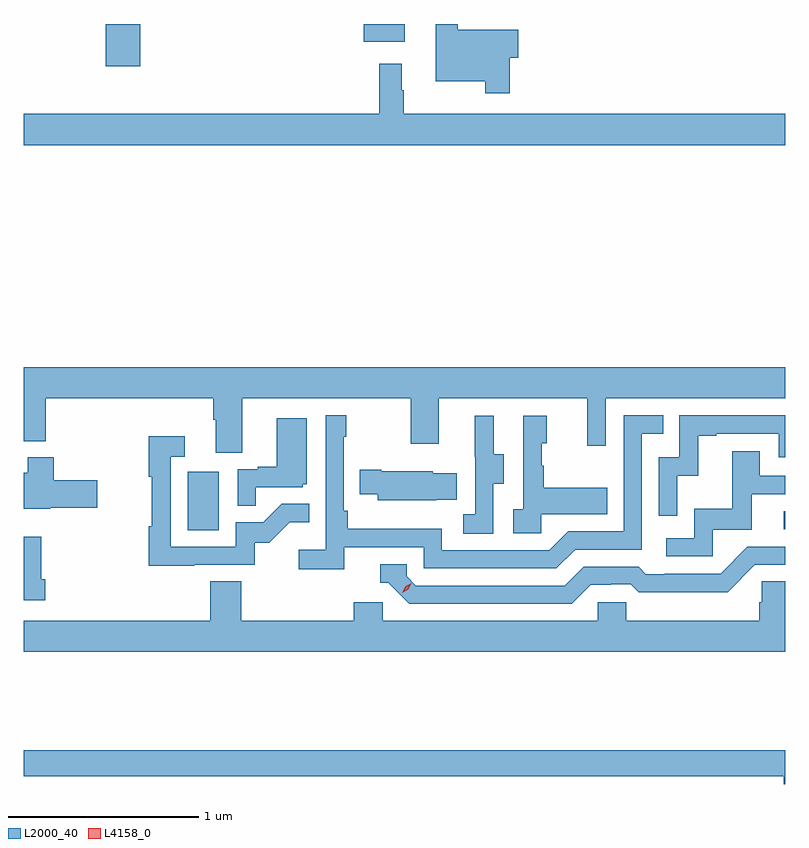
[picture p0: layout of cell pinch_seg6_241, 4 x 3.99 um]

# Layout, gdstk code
import gdstk
lib = gdstk.Library(unit=1e-6, precision=1e-09)
def R(c, l, rs):  # rectangles x0, y0, x1, y1
    for r in rs: c.add(gdstk.rectangle(r[:2], r[2:], *l))
def P(c, l, *ps):  # polygons
    for p in ps: c.add(gdstk.Polygon(p, *l))
L2000_40 = (2000, 40)
L4158_0 = (4158, 0)

pinch_seg6_241 = lib.new_cell('pinch_seg6_241')
R(pinch_seg6_241, L2000_40, [(1113.926,922.668,1114.09,922.975), (1117.059,922.674,1117.065,922.767), (1113.494,925.107,1113.677,925.328), (1114.85,925.235,1115.065,925.328)])
P(pinch_seg6_241, L2000_40, [(1115.618,925.15),(1115.662,925.15),(1115.662,925.297),(1115.345,925.297),(1115.345,925.328),(1115.228,925.328),(1115.228,925.028),(1115.49,925.028),(1115.49,924.963),(1115.618,924.963)],
  [(1117.065,924.856),(1115.062,924.856),(1115.062,924.98),(1115.05,924.98),(1115.05,925.12),(1114.933,925.12),(1114.933,924.856),(1113.065,924.856),(1113.065,924.692),(1117.065,924.692)],
  [(1114.213,923.36),(1115.098,923.36),(1115.098,923.121),(1115.245,923.121),(1115.245,923.36),(1116.026,923.36),(1116.026,923.112),(1116.123,923.112),(1116.123,923.36),(1117.065,923.36),(1117.065,923.524),(1113.065,923.524),(1113.065,923.135),(1113.179,923.135),(1113.179,923.36),(1114.061,923.36),(1114.061,923.248),(1114.073,923.248),(1114.073,923.074),(1114.213,923.074)],
  [(1114.748,922.578),(1115.166,922.578),(1115.166,922.467),(1115.863,922.467),(1115.962,922.566),(1116.312,922.566),(1116.312,923.175),(1116.425,923.175),(1116.425,923.271),(1116.216,923.271),(1116.216,922.662),(1115.925,922.662),(1115.826,922.563),(1115.262,922.563),(1115.262,922.675),(1114.766,922.675),(1114.766,922.771),(1114.746,922.771),(1114.746,923.159),(1114.759,923.159),(1114.759,923.272),(1114.65,923.272),(1114.65,922.564),(1114.509,922.564),(1114.509,922.462),(1114.748,922.462)],
  [(1116.498,922.955),(1116.608,922.955),(1116.608,923.163),(1116.703,923.163),(1116.703,923.175),(1117.032,923.175),(1117.032,923.052),(1117.065,923.052),(1117.065,923.271),(1116.51,923.271),(1116.51,923.052),(1116.402,923.052),(1116.402,922.743),(1116.498,922.743)],
  [(1115.784,922.751),(1116.131,922.751),(1116.131,922.891),(1115.797,922.891),(1115.797,923.006),(1115.787,923.006),(1115.787,923.124),(1115.812,923.124),(1115.812,923.269),(1115.688,923.269),(1115.688,922.778),(1115.637,922.778),(1115.637,922.653),(1115.784,922.653)],
  [(1115.532,922.912),(1115.587,922.912),(1115.587,923.067),(1115.533,923.067),(1115.533,923.269),(1115.435,923.269),(1115.435,923.055),(1115.436,923.055),(1115.436,922.751),(1115.373,922.751),(1115.373,922.648),(1115.532,922.648)],
  [(1114.283,922.893),(1114.53,922.893),(1114.53,922.908),(1114.552,922.908),(1114.552,923.257),(1114.394,923.257),(1114.394,923.002),(1114.295,923.002),(1114.295,922.989),(1114.188,922.989),(1114.188,922.795),(1114.283,922.795)],
  [(1113.959,922.485),(1114.278,922.485),(1114.278,922.602),(1114.354,922.602),(1114.461,922.709),(1114.565,922.709),(1114.565,922.808),(1114.421,922.808),(1114.323,922.71),(1114.179,922.71),(1114.179,922.581),(1113.837,922.581),(1113.837,923.055),(1113.91,923.055),(1113.91,923.161),(1113.721,923.161),(1113.721,922.948),(1113.736,922.948),(1113.736,922.688),(1113.721,922.688),(1113.721,922.48),(1113.959,922.48)],
  [(1116.684,922.671),(1116.889,922.671),(1116.889,922.857),(1117.065,922.857),(1117.065,922.953),(1116.931,922.953),(1116.931,923.083),(1116.787,923.083),(1116.787,922.78),(1116.588,922.78),(1116.588,922.626),(1116.441,922.626),(1116.441,922.53),(1116.684,922.53)],
  [(1113.204,922.787),(1113.451,922.787),(1113.451,922.929),(1113.221,922.929),(1113.221,923.05),(1113.086,923.05),(1113.086,922.969),(1113.065,922.969),(1113.065,922.781),(1113.204,922.781)],
  [(1115.231,922.829),(1115.339,922.829),(1115.339,922.966),(1115.214,922.966),(1115.214,922.978),(1114.942,922.978),(1114.942,922.986),(1114.831,922.986),(1114.831,922.856),(1114.925,922.856),(1114.925,922.826),(1115.231,922.826)],
  [(1113.176,922.411),(1113.156,922.411),(1113.156,922.633),(1113.065,922.633),(1113.065,922.299),(1113.176,922.299)],
  [(1116.043,922.38),(1116.15,922.38),(1116.15,922.383),(1116.253,922.383),(1116.295,922.341),(1116.528,922.341),(1116.528,922.343),(1116.764,922.343),(1116.906,922.485),(1117.065,922.485),(1117.065,922.581),(1116.867,922.581),(1116.726,922.44),(1116.433,922.44),(1116.433,922.437),(1116.334,922.437),(1116.295,922.476),(1116.006,922.476),(1115.907,922.377),(1115.124,922.377),(1115.076,922.425),(1115.076,922.488),(1114.937,922.488),(1114.937,922.392),(1114.98,922.392),(1115.091,922.281),(1115.944,922.281)],
  [(1117.065,922.4),(1116.943,922.4),(1116.943,922.29),(1116.929,922.29),(1116.929,922.192),(1116.231,922.192),(1116.231,922.29),(1116.081,922.29),(1116.081,922.192),(1114.95,922.192),(1114.95,922.29),(1114.799,922.29),(1114.799,922.192),(1114.208,922.192),(1114.208,922.4),(1114.043,922.4),(1114.043,922.192),(1113.065,922.192),(1113.065,922.028),(1117.065,922.028)],
  [(1117.065,921.512),(1113.065,921.512),(1113.065,921.376),(1117.058,921.376),(1117.058,921.334),(1117.065,921.334)])
P(pinch_seg6_241, L4158_0, [(1115.053,922.339),(1115.053,922.339),(1115.07,922.371),(1115.1,922.39),(1115.101,922.39),(1115.101,922.39),(1115.084,922.358),(1115.053,922.339)])

lib.write_gds('pinch_seg6_241.gds')
